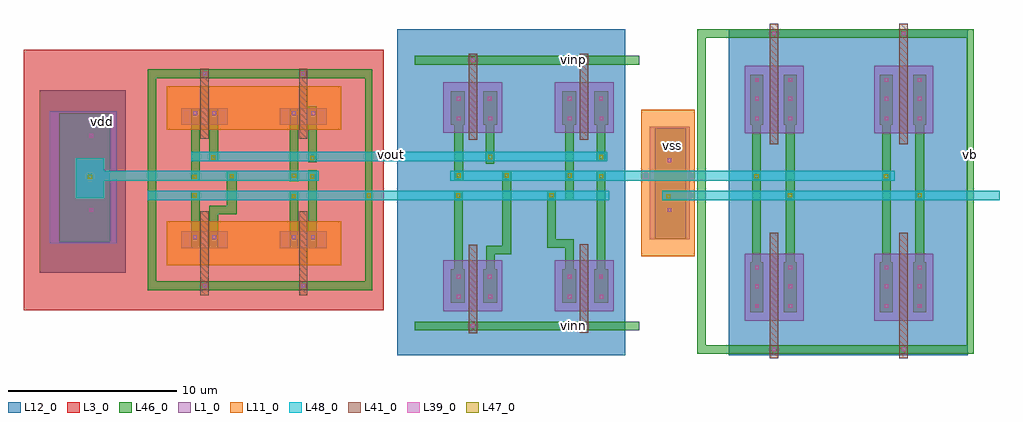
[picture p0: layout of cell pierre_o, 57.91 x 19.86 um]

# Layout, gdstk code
import gdstk
lib = gdstk.Library(unit=1e-6, precision=1e-09)
def R(c, l, rs):  # rectangles x0, y0, x1, y1
    for r in rs: c.add(gdstk.rectangle(r[:2], r[2:], *l))
def P(c, l, *ps):  # polygons
    for p in ps: c.add(gdstk.Polygon(p, *l))
L1_0 = (1, 0)
L3_0 = (3, 0)
L11_0 = (11, 0)
L12_0 = (12, 0)
L39_0 = (39, 0)
L41_0 = (41, 0)
L46_0 = (46, 0)
L47_0 = (47, 0)
L48_0 = (48, 0)

pierre_o = lib.new_cell('pierre_o')
R(pierre_o, L1_0, [(33.415,-2.545,36.915,1.455), (41.1,-2.545,44.6,1.455), (15.55,-1.955,19.05,1.045), (22.145,-1.955,25.645,1.045), (-0.02,1.775,2.76,2.775), (5.835,1.775,8.615,2.775), (-7.81,2.075,-3.84,9.885), (27.805,2.305,30.15,8.975), (33.415,8.585,36.915,12.585), (41.1,8.585,44.6,12.585), (15.55,8.615,19.05,11.615), (22.145,8.615,25.645,11.615), (-0.02,9.09,2.76,10.09), (5.835,9.09,8.615,10.09)])
R(pierre_o, L3_0, [(-9.37,-1.895,12,13.55)])
R(pierre_o, L11_0, [(-0.875,0.76,9.48,3.36), (27.295,1.285,30.455,9.995), (-0.875,8.79,9.48,11.39)])
R(pierre_o, L12_0, [(12.805,-4.575,26.34,14.765), (32.485,-4.575,46.67,14.765), (-8.415,0.315,-3.29,11.14)])
R(pierre_o, L39_0, [(35.05,-4.34,35.28,-4.11), (42.74,-4.34,42.97,-4.11), (17.175,-2.94,17.405,-2.71), (23.785,-2.94,24.015,-2.71), (34.04,-1.775,34.27,-1.545), (36.02,-1.775,36.25,-1.545), (41.725,-1.775,41.955,-1.545), (43.705,-1.775,43.935,-1.545), (16.345,-1.215,16.575,-0.985), (18.22,-1.215,18.45,-0.985), (22.94,-1.215,23.17,-0.985), (24.815,-1.215,25.045,-0.985), (34.04,-0.6,34.27,-0.37), (36.02,-0.6,36.25,-0.37), (41.725,-0.6,41.955,-0.37), (43.705,-0.6,43.935,-0.37), (1.275,-0.565,1.505,-0.335), (7.11,-0.565,7.34,-0.335), (16.345,-0.04,16.575,0.19), (18.19,-0.04,18.42,0.19), (22.94,-0.04,23.17,0.19), (24.785,-0.04,25.015,0.19), (34.04,0.51,34.27,0.74), (36.02,0.51,36.25,0.74), (41.725,0.51,41.955,0.74), (43.705,0.51,43.935,0.74), (0.695,2.315,0.925,2.545), (1.84,2.315,2.07,2.545), (6.55,2.315,6.78,2.545), (7.695,2.315,7.925,2.545), (-5.455,3.925,-5.225,4.155), (28.845,3.925,29.075,4.155), (28.845,6.885,29.075,7.115), (-5.455,8.325,-5.225,8.555), (16.345,9.355,16.575,9.585), (18.22,9.355,18.45,9.585), (22.94,9.355,23.17,9.585), (24.815,9.355,25.045,9.585), (34.04,9.355,34.27,9.585), (36.02,9.355,36.25,9.585), (41.725,9.355,41.955,9.585), (43.705,9.355,43.935,9.585), (0.705,9.655,0.935,9.885), (1.845,9.655,2.075,9.885), (6.56,9.655,6.79,9.885), (7.7,9.655,7.93,9.885), (16.345,10.53,16.575,10.76), (18.19,10.53,18.42,10.76), (22.94,10.53,23.17,10.76), (24.785,10.53,25.015,10.76), (34.04,10.53,34.27,10.76), (36.02,10.53,36.25,10.76), (41.725,10.53,41.955,10.76), (43.705,10.53,43.935,10.76), (34.04,11.64,34.27,11.87), (36.02,11.64,36.25,11.87), (41.725,11.64,41.955,11.87), (43.705,11.64,43.935,11.87), (1.275,12,1.505,12.23), (7.125,12,7.355,12.23), (17.175,12.82,17.405,13.05), (23.785,12.82,24.015,13.05), (35.05,14.4,35.28,14.63), (42.74,14.4,42.97,14.63)])
R(pierre_o, L41_0, [(34.915,-4.765,35.415,2.7), (42.6,-4.765,43.1,2.7), (17.05,-3.28,17.55,1.99), (23.645,-3.25,24.145,2.02), (1.125,-1.025,1.625,3.98), (6.98,-1.025,7.48,3.98), (34.915,7.95,35.415,15.1), (42.6,7.95,43.1,15.1), (17.05,8.2,17.55,13.325), (23.645,8.2,24.145,13.325), (1.125,8.255,1.625,12.43), (6.98,8.255,7.48,12.43)])
R(pierre_o, L46_0, [(30.61,-4.495,31.125,14.765), (30.61,-4.49,47.02,-3.975), (46.595,-4.49,47.02,14.765), (13.845,-3.105,27.17,-2.59), (33.755,-2.035,34.515,0.925), (35.74,-2.035,36.5,0.925), (41.44,-2.035,42.2,0.925), (43.425,-2.035,44.185,0.925), (15.99,-1.465,16.825,0.525), (17.905,-1.465,18.74,0.525), (22.585,-1.465,23.42,0.525), (24.5,-1.465,25.335,0.525), (24.645,-1.45,25.16,6.34), (16.185,-1.41,16.7,5.195), (33.865,-1.41,34.38,10.965), (35.875,-1.41,36.39,10.965), (41.58,-1.41,42.095,10.965), (43.56,-1.41,44.075,10.965), (-2.005,-0.71,11.32,-0.195), (-2.005,-0.71,-1.49,12.36), (10.895,-0.71,11.32,12.38), (0.57,1.775,1.085,5.195), (1.665,1.775,2.18,4.29), (6.425,1.775,6.94,5.195), (7.52,1.775,8.035,3.06), (21.695,1.8,22.21,5.195), (-7.235,2.145,-4.215,9.78), (28.075,2.375,29.945,8.905), (7.52,2.385,8.035,6.405), (1.665,3.775,3.195,4.29), (2.685,3.775,3.295,6.35), (22.78,4.615,23.295,10.965), (6.425,5.75,6.94,10.09), (0.57,5.77,1.085,10.09), (16.2,5.78,16.715,10.965), (18.05,6.775,18.565,10.965), (7.52,6.885,8.035,10.2), (1.665,6.925,2.18,10.09), (24.645,6.925,25.16,10.965), (33.755,9.095,34.515,12.055), (35.74,9.095,36.5,12.055), (41.44,9.095,42.2,12.055), (43.425,9.095,44.185,12.055), (15.99,9.105,16.825,11.095), (17.905,9.105,18.74,11.095), (22.585,9.105,23.42,11.095), (24.5,9.105,25.335,11.095), (-2.005,11.865,11.32,12.38), (13.845,12.67,27.17,13.185), (30.61,14.25,47.02,14.765)])
P(pierre_o, L46_0, [(22.78,-1.465),(22.78,1.8),(21.71,1.8),(21.71,2.315),(23.295,2.315),(23.295,-1.465)],
  [(18.075,-1.41),(18.075,1.93),(19.05,1.93),(19.05,6.36),(19.58,6.36),(19.58,1.415),(18.59,1.415),(18.59,-1.41)])
R(pierre_o, L47_0, [(6.54,4.725,6.79,4.975), (28.76,4.735,29.01,4.985), (10.995,4.77,11.245,5.02), (16.31,4.77,16.56,5.02), (0.655,4.775,0.905,5.025), (35.985,4.785,36.235,5.035), (43.685,4.785,43.935,5.035), (21.83,4.79,22.08,5.04), (-5.555,5.88,-5.305,6.13), (0.655,5.88,0.905,6.13), (7.635,5.9,7.885,6.15), (2.86,5.91,3.11,6.16), (24.795,5.92,25.045,6.17), (34,5.92,34.25,6.17), (41.685,5.92,41.935,6.17), (6.55,5.94,6.8,6.19), (16.33,5.965,16.58,6.215), (19.18,5.965,19.43,6.215), (22.925,5.965,23.175,6.215), (7.635,7.005,7.885,7.255), (1.77,7.025,2.02,7.275), (18.2,7.06,18.45,7.31), (24.785,7.06,25.035,7.31)])
R(pierre_o, L48_0, [(-1.995,4.61,25.395,5.195), (28.535,4.61,48.545,5.195), (-6.265,4.74,-4.575,7.125), (-5.845,5.775,8.15,6.36), (15.94,5.775,42.335,6.36), (0.57,6.92,25.265,7.505)])
pierre_o.add(gdstk.Label('vss', (29.12,7.89), layer=101, texttype=0))
pierre_o.add(gdstk.Label('vdd', (-4.69,9.265), layer=101, texttype=0))
pierre_o.add(gdstk.Label('vout', (12.445,7.345), layer=102, texttype=0))
pierre_o.add(gdstk.Label('vb', (46.845,7.345), layer=101, texttype=0))
pierre_o.add(gdstk.Label('vinn', (23.295,-2.785), layer=101, texttype=0))
pierre_o.add(gdstk.Label('vinp', (23.295,12.99), layer=101, texttype=0))

lib.write_gds('pierre_o.gds')
